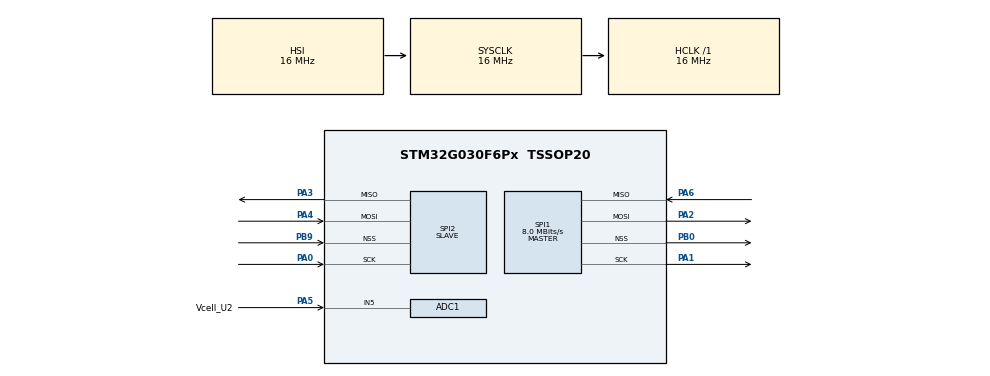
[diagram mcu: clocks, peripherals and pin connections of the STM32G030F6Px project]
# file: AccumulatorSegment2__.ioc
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ADC1.Channel-0\#ChannelRegularConversion=ADC_CHANNEL_5
ADC1.ClockPrescaler=ADC_CLOCK_SYNC_PCLK_DIV4
ADC1.NbrOfConversionFlag=1
ADC1.Rank-0\#ChannelRegularConversion=1
ADC1.SamplingTime-0\#ChannelRegularConversion=ADC_SAMPLINGTIME_COMMON_1
ADC1.SelectedChannel=ADC_CHANNEL_5
ADC1.master=1
Mcu.Family=STM32G0
Mcu.Name=STM32G030F6Px
Mcu.Package=TSSOP20
PA0.Mode=Full_Duplex_Slave
PA0.Signal=SPI2_SCK
PA1.Mode=Full_Duplex_Master
PA1.Signal=SPI1_SCK
PA13.Mode=Serial_Wire
PA13.Signal=SYS_SWDIO
PA14-BOOT0.Mode=Serial_Wire
PA14-BOOT0.Signal=SYS_SWCLK
PA14-BOOT0__PA15.StandardMode=true
PA2.Mode=Full_Duplex_Master
PA2.Signal=SPI1_MOSI
PA3.Mode=Full_Duplex_Slave
PA3.Signal=SPI2_MISO
PA4.Mode=Full_Duplex_Slave
PA4.Signal=SPI2_MOSI
PA5.GPIO_Label=Vcell_U2
PA5.GPIO_PuPd=GPIO_NOPULL
PA5.Mode=IN5
PA5.Signal=ADC1_IN5
PA6.Mode=Full_Duplex_Master
PA6.Signal=SPI1_MISO
PB0.Mode=NSS_Signal_Hard_Output
PB0.Signal=SPI1_NSS
PB0__PB1__PB2__PA8.StandardMode=true
PB3__PB4__PB5__PB6.StandardMode=true
PB7__PB8.StandardMode=true
PB9.Mode=NSS_Signal_Hard_Input
PB9.Signal=SPI2_NSS
PC14-OSC32_IN\ (PC14)__PB9.StandardMode=true
ProjectManager.HeapSize=0x200
ProjectManager.StackSize=0x400
ProjectManager.TargetToolchain=STM32CubeIDE
RCC.AHBFreq_Value=16000000
RCC.CortexFreq_Value=16000000
RCC.EXTERNAL_CLOCK_VALUE=12288000
RCC.HCLKFreq_Value=16000000
RCC.HSE_VALUE=8000000
RCC.HSI_VALUE=16000000
RCC.LSE_VALUE=32768
RCC.SYSCLKFreq_VALUE=16000000
RCC.VCOOutputFreq_Value=128000000
SPI1.CalculateBaudRate=8.0 MBits/s
SPI1.Direction=SPI_DIRECTION_2LINES
SPI1.Mode=SPI_MODE_MASTER
SPI1.VirtualNSS=VM_NSSHARD
SPI1.VirtualType=VM_MASTER
SPI2.Direction=SPI_DIRECTION_2LINES
SPI2.Mode=SPI_MODE_SLAVE
SPI2.VirtualNSS=VM_NSSHARD
SPI2.VirtualType=VM_SLAVE
TIM14.Prescaler=16-1
VP_TIM14_VS_ClockSourceINT.Mode=Enable_Timer
board=custom

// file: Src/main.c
/* USER CODE BEGIN Header */
/**
 ******************************************************************************
 * @file           : main.c
 * @brief          : Main program body
 ******************************************************************************
 * @attention
 *
 * Copyright (c) 2022 STMicroelectronics.
 * All rights reserved.
 *
 * This software is licensed under terms that can be found in the LICENSE file
 * in the root directory of this software component.
 * If no LICENSE file comes with this software, it is provided AS-IS.
 *
 ******************************************************************************
 */
/* USER CODE END Header */
#include "main.h"

/* USER CODE BEGIN PD */
#define SPI_TIMEOUT 50

#define ECS_HIGH 	0x80 //If on, enable cell selection
#define SC0_HIGH 	0x40 //Select cell for voltage readout during hold phase
#define SC1_HIGH 	0x20
#define SC2_HIGH 	0x10
#define SC3_HIGH 	0x08
#define SMPLB_HIGH 	0x04 //If on, in hold phase. Else, if sampl input high, then in sample phase
#define DIAG_HIGH 	0x02 //If on, in diagnostic mode (10uA sunk on all cell inputs)
#define LOPW_HIGH 	0x01 //If on, low power mode enabled

#define SAMPLE_DELAY 45 //time to stay in sample phase, in ms
#define HOLD_DELAY 1	//time to transition into hold phase, in us
#define LEVEL_SHIFT_DELAY 55 //time to shift cap voltages to ground reference, in us
#define SETTLING_DELAY 50 //time to let a_out settle, in us
/* USER CODE END PD */

 ADC_HandleTypeDef hadc1;

SPI_HandleTypeDef hspi1;
SPI_HandleTypeDef hspi2;

TIM_HandleTypeDef htim14;

void SystemClock_Config(void);
static void MX_GPIO_Init(void);
static void MX_ADC1_Init(void);
static void MX_SPI1_Init(void);
static void MX_SPI2_Init(void);
static void MX_TIM14_Init(void);

/* USER CODE BEGIN 0 */

//wait for a given number of microseconds
//taken from https://controllerstech.com/create-1-microsecond-delay-stm32/
void delay_us(uint16_t us) {
	//set the counter value to 0
	__HAL_TIM_SET_COUNTER(&htim14,0);

	//wait for the counter to reach the given microsecond value
	//we've configured the timer to tick once every microsecond, so we don't have to weight the values
	while (__HAL_TIM_GET_COUNTER(&htim14) < us);
}

/* USER CODE END 0 */

int main(void)
{

  /* MCU Configuration--------------------------------------------------------*/

  /* Reset of all peripherals, Initializes the Flash interface and the Systick. */
  HAL_Init();

  /* Configure the system clock */
  SystemClock_Config();

  /* Initialize all configured peripherals */
  MX_GPIO_Init();
  MX_ADC1_Init();
  MX_SPI1_Init();
  MX_SPI2_Init();
  MX_TIM14_Init();
  /* USER CODE BEGIN 2 */
	uint8_t u1_buffer_in[] = { 0x00, 0x00, 0x80 };
	uint8_t *balance_low = &u1_buffer_in[0];
	uint8_t *balance_high = &u1_buffer_in[1];
	uint8_t *config = &u1_buffer_in[2];

	float cell_voltages[4] = { 0 };

	uint32_t buffer_out[2] = { 0x01234567, 0x89ABCDEF};

  /* USER CODE END 2 */

  /* Infinite loop */
  /* USER CODE BEGIN WHILE */
	do {
    /* USER CODE END WHILE */

    /* USER CODE BEGIN 3 */

		uint8_t receive_sync[4] = {0xde, 0xad, 0xda, 0xed};
		uint8_t transmit_sync[4] = {0xbe, 0xef, 0xfe, 0xeb};
		//sync up with BMS controller
		HAL_SPI_Receive(&hspi2, receive_sync, 1, SPI_TIMEOUT*5);
		//HAL_SPI_Transmit(&hspi2, (uint8_t *) buffer_out, 8, SPI_TIMEOUT);
		//continue;

		//charge up sample capacitors
		*balance_low = 0;
		*balance_high = 0;
		*config = 0;

		//start sample phase - charge up sample capacitors
		HAL_SPI_Transmit(&hspi1, u1_buffer_in, 3, SPI_TIMEOUT);

		//wait for sample phase to complete, at least 40 ms
		HAL_Delay(SAMPLE_DELAY);

		//start hold phase
		*config = SMPLB_HIGH;
		HAL_SPI_Transmit(&hspi1, u1_buffer_in, 3, SPI_TIMEOUT);

		//wait for sample cap voltages to shift to ground reference, at least 50.5 us
		delay_us(HOLD_DELAY + LEVEL_SHIFT_DELAY);

		*balance_low = 0;
		*balance_high = 0;
		//Measure voltage of every set of cells
		int lowest_cell = 0;
		int highest_cell = 0;
		for (int i = 0; i < 4; i++) {
			*config = ECS_HIGH;
			//Set SC0 and SC1, depending on the value of i
			//Since we're only measuring 4 cells, SC2 and SC3 are always 0
			int cell = i;
			if (i / 2 != 0) {
				cell -= 2;
				*config = *config || SC1_HIGH;
			}
			if (cell == 1) {
				*config = *config || SC0_HIGH;
			}
			//tell MAX14920 to measure voltage of cell i
			HAL_SPI_Transmit(&hspi1, u1_buffer_in, 3, SPI_TIMEOUT);

			//Time delay to allow voltage measurement to settle.
			//According to MAX14920 datasheet, we should have a delay of over 5us.
			//I was gonna do this with a bunch of NOP instructions, but it turns out
			//	that reading from ADC takes a few microseconds anyways.
			//  		for (int j = 0; j < 200; j++) {
			//  			asm("NOP");
			//  		}

			//read voltage of cell i from ADC
			HAL_ADC_Start(&hadc1);
			HAL_ADC_PollForConversion(&hadc1, 2);
			cell_voltages[i] = HAL_ADC_GetValue(&hadc1) / 4096.0 * 15100 / 10000;
			if (cell_voltages[i] > cell_voltages[highest_cell]) {
				highest_cell = i;
			} else if (cell_voltages[i] < cell_voltages[lowest_cell]) {
				lowest_cell = i;
			}
		}

		buffer_out[0] = 12345687;//cell_voltages[lowest_cell];
		buffer_out[1] = 89012344;//cell_voltages[highest_cell];

		//send cell voltages to BMS controller
		HAL_SPI_Transmit(&hspi2, (uint8_t *) buffer_out, 8, SPI_TIMEOUT*50);
		continue;
	} while (0);
  /* USER CODE END 3 */
}

void SystemClock_Config(void)
{
  RCC_OscInitTypeDef RCC_OscInitStruct = {0};
  RCC_ClkInitTypeDef RCC_ClkInitStruct = {0};

  /** Configure the main internal regulator output voltage
  */
  HAL_PWREx_ControlVoltageScaling(PWR_REGULATOR_VOLTAGE_SCALE1);

  /** Initializes the RCC Oscillators according to the specified parameters
  * in the RCC_OscInitTypeDef structure.
  */
  RCC_OscInitStruct.OscillatorType = RCC_OSCILLATORTYPE_HSI;
  RCC_OscInitStruct.HSIState = RCC_HSI_ON;
  RCC_OscInitStruct.HSIDiv = RCC_HSI_DIV1;
  RCC_OscInitStruct.HSICalibrationValue = RCC_HSICALIBRATION_DEFAULT;
  RCC_OscInitStruct.PLL.PLLState = RCC_PLL_NONE;
  if (HAL_RCC_OscConfig(&RCC_OscInitStruct) != HAL_OK)
  {
    Error_Handler();
  }

  /** Initializes the CPU, AHB and APB buses clocks
  */
  RCC_ClkInitStruct.ClockType = RCC_CLOCKTYPE_HCLK|RCC_CLOCKTYPE_SYSCLK
                              |RCC_CLOCKTYPE_PCLK1;
  RCC_ClkInitStruct.SYSCLKSource = RCC_SYSCLKSOURCE_HSI;
  RCC_ClkInitStruct.AHBCLKDivider = RCC_SYSCLK_DIV1;
  RCC_ClkInitStruct.APB1CLKDivider = RCC_HCLK_DIV1;

  if (HAL_RCC_ClockConfig(&RCC_ClkInitStruct, FLASH_LATENCY_0) != HAL_OK)
  {
    Error_Handler();
  }
}

static void MX_ADC1_Init(void)
{

  ADC_ChannelConfTypeDef sConfig = {0};

  /** Configure the global features of the ADC (Clock, Resolution, Data Alignment and number of conversion)
  */
  hadc1.Instance = ADC1;
  hadc1.Init.ClockPrescaler = ADC_CLOCK_SYNC_PCLK_DIV4;
  hadc1.Init.Resolution = ADC_RESOLUTION_12B;
  hadc1.Init.DataAlign = ADC_DATAALIGN_RIGHT;
  hadc1.Init.ScanConvMode = ADC_SCAN_DISABLE;
  hadc1.Init.EOCSelection = ADC_EOC_SINGLE_CONV;
  hadc1.Init.LowPowerAutoWait = DISABLE;
  hadc1.Init.LowPowerAutoPowerOff = DISABLE;
  hadc1.Init.ContinuousConvMode = DISABLE;
  hadc1.Init.NbrOfConversion = 1;
  hadc1.Init.ExternalTrigConv = ADC_SOFTWARE_START;
  hadc1.Init.ExternalTrigConvEdge = ADC_EXTERNALTRIGCONVEDGE_NONE;
  hadc1.Init.DMAContinuousRequests = DISABLE;
  hadc1.Init.Overrun = ADC_OVR_DATA_PRESERVED;
  hadc1.Init.SamplingTimeCommon1 = ADC_SAMPLETIME_1CYCLE_5;
  hadc1.Init.SamplingTimeCommon2 = ADC_SAMPLETIME_1CYCLE_5;
  hadc1.Init.OversamplingMode = DISABLE;
  hadc1.Init.TriggerFrequencyMode = ADC_TRIGGER_FREQ_HIGH;
  if (HAL_ADC_Init(&hadc1) != HAL_OK)
  {
    Error_Handler();
  }

  /** Configure Regular Channel
  */
  sConfig.Channel = ADC_CHANNEL_5;
  sConfig.Rank = ADC_REGULAR_RANK_1;
  sConfig.SamplingTime = ADC_SAMPLINGTIME_COMMON_1;
  if (HAL_ADC_ConfigChannel(&hadc1, &sConfig) != HAL_OK)
  {
    Error_Handler();
  }

}

static void MX_SPI1_Init(void)
{

  /* SPI1 parameter configuration*/
  hspi1.Instance = SPI1;
  hspi1.Init.Mode = SPI_MODE_MASTER;
  hspi1.Init.Direction = SPI_DIRECTION_2LINES;
  hspi1.Init.DataSize = SPI_DATASIZE_8BIT;
  hspi1.Init.CLKPolarity = SPI_POLARITY_LOW;
  hspi1.Init.CLKPhase = SPI_PHASE_1EDGE;
  hspi1.Init.NSS = SPI_NSS_HARD_OUTPUT;
  hspi1.Init.BaudRatePrescaler = SPI_BAUDRATEPRESCALER_2;
  hspi1.Init.FirstBit = SPI_FIRSTBIT_MSB;
  hspi1.Init.TIMode = SPI_TIMODE_DISABLE;
  hspi1.Init.CRCCalculation = SPI_CRCCALCULATION_DISABLE;
  hspi1.Init.CRCPolynomial = 7;
  hspi1.Init.CRCLength = SPI_CRC_LENGTH_DATASIZE;
  hspi1.Init.NSSPMode = SPI_NSS_PULSE_ENABLE;
  if (HAL_SPI_Init(&hspi1) != HAL_OK)
  {
    Error_Handler();
  }

}

static void MX_SPI2_Init(void)
{

  /* SPI2 parameter configuration*/
  hspi2.Instance = SPI2;
  hspi2.Init.Mode = SPI_MODE_SLAVE;
  hspi2.Init.Direction = SPI_DIRECTION_2LINES;
  hspi2.Init.DataSize = SPI_DATASIZE_8BIT;
  hspi2.Init.CLKPolarity = SPI_POLARITY_LOW;
  hspi2.Init.CLKPhase = SPI_PHASE_1EDGE;
  hspi2.Init.NSS = SPI_NSS_HARD_INPUT;
  hspi2.Init.FirstBit = SPI_FIRSTBIT_MSB;
  hspi2.Init.TIMode = SPI_TIMODE_DISABLE;
  hspi2.Init.CRCCalculation = SPI_CRCCALCULATION_DISABLE;
  hspi2.Init.CRCPolynomial = 7;
  hspi2.Init.CRCLength = SPI_CRC_LENGTH_DATASIZE;
  hspi2.Init.NSSPMode = SPI_NSS_PULSE_DISABLE;
  if (HAL_SPI_Init(&hspi2) != HAL_OK)
  {
    Error_Handler();
  }

}

static void MX_TIM14_Init(void)
{

  htim14.Instance = TIM14;
  htim14.Init.Prescaler = 16-1;
  htim14.Init.CounterMode = TIM_COUNTERMODE_UP;
  htim14.Init.Period = 65535;
  htim14.Init.ClockDivision = TIM_CLOCKDIVISION_DIV1;
  htim14.Init.AutoReloadPreload = TIM_AUTORELOAD_PRELOAD_DISABLE;
  if (HAL_TIM_Base_Init(&htim14) != HAL_OK)
  {
    Error_Handler();
  }

}

static void MX_GPIO_Init(void)
{

  /* GPIO Ports Clock Enable */
  __HAL_RCC_GPIOB_CLK_ENABLE();
  __HAL_RCC_GPIOA_CLK_ENABLE();

}

void Error_Handler(void)
{
  /* USER CODE BEGIN Error_Handler_Debug */
	/* User can add his own implementation to report the HAL error return state */
//	__disable_irq();
//	while (1)
//	{
//	}
  /* USER CODE END Error_Handler_Debug */
}
